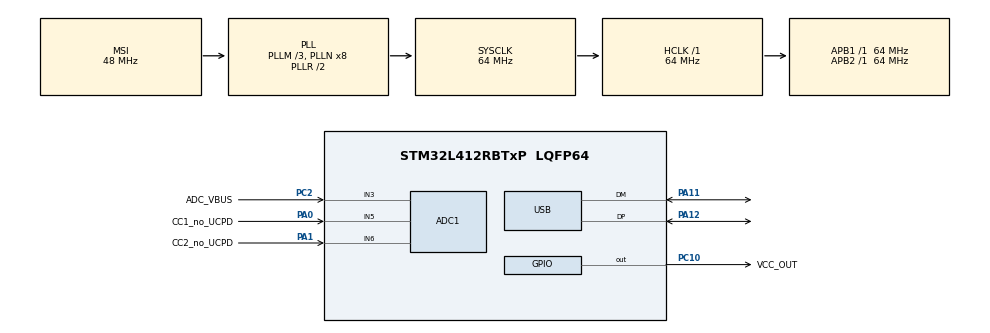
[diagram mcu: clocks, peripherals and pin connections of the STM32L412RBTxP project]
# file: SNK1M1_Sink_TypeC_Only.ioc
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ADC1.Channel-0\#ChannelRegularConversion=ADC_CHANNEL_3
ADC1.Channel-3\#ChannelRegularConversion=ADC_CHANNEL_5
ADC1.Channel-4\#ChannelRegularConversion=ADC_CHANNEL_6
ADC1.ClockPrescaler=ADC_CLOCK_SYNC_PCLK_DIV4
ADC1.ContinuousConvMode=ENABLE
ADC1.DMAContinuousRequests=ENABLE
ADC1.EnableAnalogWatchDog1=false
ADC1.NbrOfConversion=3
ADC1.NbrOfConversionFlag=1
ADC1.OffsetNumber-0\#ChannelRegularConversion=ADC_OFFSET_NONE
ADC1.OffsetNumber-3\#ChannelRegularConversion=ADC_OFFSET_NONE
ADC1.OffsetNumber-4\#ChannelRegularConversion=ADC_OFFSET_NONE
ADC1.Overrun=ADC_OVR_DATA_OVERWRITTEN
ADC1.Rank-0\#ChannelRegularConversion=1
ADC1.Rank-3\#ChannelRegularConversion=2
ADC1.Rank-4\#ChannelRegularConversion=3
ADC1.SamplingTime-0\#ChannelRegularConversion=ADC_SAMPLETIME_640CYCLES_5
ADC1.SamplingTime-3\#ChannelRegularConversion=ADC_SAMPLETIME_640CYCLES_5
ADC1.SamplingTime-4\#ChannelRegularConversion=ADC_SAMPLETIME_640CYCLES_5
ADC1.master=1
Dma.ADC1.0.Direction=DMA_PERIPH_TO_MEMORY
Dma.ADC1.0.Instance=DMA1_Channel1
Dma.ADC1.0.MemDataAlignment=DMA_MDATAALIGN_HALFWORD
Dma.ADC1.0.MemInc=DMA_MINC_ENABLE
Dma.ADC1.0.Mode=DMA_CIRCULAR
Dma.ADC1.0.PeriphDataAlignment=DMA_PDATAALIGN_HALFWORD
Dma.ADC1.0.PeriphInc=DMA_PINC_DISABLE
Dma.ADC1.0.Priority=DMA_PRIORITY_LOW
Dma.Request0=ADC1
FREERTOS.Tasks01=defaultTask,0,128,StartDefaultTask,Default,NULL,Dynamic,NULL,NULL
Mcu.Family=STM32L4
Mcu.Name=STM32L412RBTxP
Mcu.Package=LQFP64
NVIC.DMA1_Channel1_IRQn=true\:0\:0\:false\:false\:true\:false\:false\:true
NVIC.PriorityGroup=NVIC_PRIORITYGROUP_4
NVIC.USB_IRQn=true\:0\:0\:false\:false\:true\:false\:false\:true
PA0.GPIO_Label=CC1_no_UCPD
PA0.Signal=ADCx_IN5
PA1.GPIO_Label=CC2_no_UCPD
PA1.Signal=ADCx_IN6
PA11.Mode=Device
PA11.Signal=USB_DM
PA12.Mode=Device
PA12.Signal=USB_DP
PC10.GPIO_Label=VCC_OUT
PC10.PinState=GPIO_PIN_SET
PC10.Signal=GPIO_Output
PC2.GPIO_Label=ADC_VBUS
PC2.Signal=ADCx_IN3
ProjectManager.HeapSize=0x200
ProjectManager.StackSize=0x400
ProjectManager.TargetToolchain=EWARM V8.32
RCC.ADCFreq_Value=64000000
RCC.AHBFreq_Value=64000000
RCC.APB1Freq_Value=64000000
RCC.APB1TimFreq_Value=64000000
RCC.APB2Freq_Value=64000000
RCC.APB2TimFreq_Value=64000000
RCC.CortexFreq_Value=64000000
RCC.HCLKFreq_Value=64000000
RCC.HSE_VALUE=8000000
RCC.HSI48_VALUE=48000000
RCC.HSI_VALUE=16000000
RCC.LSE_VALUE=32768
RCC.MSIClockRange=RCC_MSIRANGE_11
RCC.MSI_VALUE=48000000
RCC.PLLM=3
RCC.SYSCLKFreq_VALUE=64000000
RCC.SYSCLKSource=RCC_SYSCLKSOURCE_PLLCLK
RCC.USBFreq_Value=48000000
RCC.VCOOutputFreq_Value=128000000
SH.ADCx_IN3.0=ADC1_IN3,IN3-Single-Ended
SH.ADCx_IN5.0=ADC1_IN5,IN5-Single-Ended
SH.ADCx_IN6.0=ADC1_IN6,IN6-Single-Ended
USB_DEVICE.CLASS_NAME_FS=MSC
USB_DEVICE.VirtualMode=Msc
USB_DEVICE.VirtualModeFS=Msc_FS
VP_FREERTOS_VS_CMSIS_V1.Mode=CMSIS_V1
VP_USB_DEVICE_VS_USB_DEVICE_MSC_FS.Mode=MSC_FS
board=custom

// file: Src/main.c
/* USER CODE BEGIN Header */
/**
  ******************************************************************************
  * @file           : main.c
  * @brief          : Main program body
  ******************************************************************************
  * @attention
  *
  * Copyright (c) 2020 STMicroelectronics.
  * All rights reserved.
  *
  * This software is licensed under terms that can be found in the LICENSE file
  * in the root directory of this software component.
  * If no LICENSE file comes with this software, it is provided AS-IS.
  *
  ******************************************************************************
  */
/* USER CODE END Header */
#include "main.h"
#include "cmsis_os.h"
#include "usb_device.h"

/* USER CODE BEGIN Includes */
#include "stm32l4xx_nucleo.h"
#include "usbpd_usb_if.h"
/* USER CODE END Includes */

/* USER CODE BEGIN PD */

typedef enum {
  CC_STATUS_NONE,
  CC_STATUS_DEFAULT,
  CC_STATUS_1P5A,
  CC_STATUS_3P0A,
} CC_STATUS_ENUM;

#define ADC_CONVERTED_DATA_BUFFER_SIZE  (3U)

#define VDD_APPLI                       (3300U)
#define ADC_MAX_VALUE_12B               (4095U)

#define ADC_INDEX_VBUS                  (0U)
#define ADC_INDEX_CC1                   (1U)
#define ADC_INDEX_CC2                   (2U)

/* X-NUCLEO-USBPDM board is used */
    /* Value is multiplied by 5.97 (Divider R6/R7 (40.2K/200K) for VSENSE) */
#define VBUS_LOW_THRESHOLD            (800U) /* 800mV */
#define ADC_VOLTAGE_DIVIDER_RATIO     (597U)
#define ADC_VBUS_VALUE_LOW_THRESHOLD  ((((VBUS_LOW_THRESHOLD * 100U) / ADC_VOLTAGE_DIVIDER_RATIO) *  ADC_MAX_VALUE_12B) / VDD_APPLI)

/* VRd-USB: ~0.2V < VCCx < ~0.66V  */
/* VRd-1.5: ~0.66V < VCCx < ~1.23V */
/* VRd-3.0: ~1.23V < VCCx          */
#define VRD_USB_MIN                     200U    /* ~0.2V*/
#define VRD_USB_MAX                     660U    /* 0.66V*/
#define VRD_1P5A_MAX                    1230U    /* 1.23V*/

#define ADC_VALUE_VRD_USB_MIN  ((VRD_USB_MIN *  ADC_MAX_VALUE_12B) / VDD_APPLI)
#define ADC_VALUE_VRD_USB_MAX  ((VRD_USB_MAX *  ADC_MAX_VALUE_12B) / VDD_APPLI)
#define ADC_VALUE_VRD_VRD_1P5A_MAX ((VRD_1P5A_MAX *  ADC_MAX_VALUE_12B) / VDD_APPLI)

/* Define the number of samples to be read */
#define NB_TOTAL_SAMPLES        3U /* 1 sample ready every 1ms (done in systick handler)*/

/* Time to wait for starting a new set of blinks */
#define TIME_BETWEEN_2_SET_OF_BLINKS    2000U   /* 2s */

/* Time of blinking*/
#define TIME_BLINK                      500U   /* 500ms */

/* Number of blinks depending of the RP resistor value */
#define NB_BLINK_DEFAULT                2U   /* 1 blink (need 2 LED toggles */
#define NB_BLINK_1P5A                   4U   /* 2 blink (need 4 LED toggles */
#define NB_BLINK_3P0A                   6U   /* 3 blink (need 6 LED toggles */

/* USER CODE END PD */

ADC_HandleTypeDef hadc1;
DMA_HandleTypeDef hdma_adc1;

osThreadId defaultTaskHandle;
/* USER CODE BEGIN PV */
uint16_t aADCxConvertedData[ADC_CONVERTED_DATA_BUFFER_SIZE]; /*!< ADC group regular conversion data */

/* Variable to save the previous CC status detected */
CC_STATUS_ENUM  PreviousCCStatus = CC_STATUS_NONE;

/* To avoid error in CC status reading (due to PD messages sent by port partner),
   we will take several samples before confirmation of the CC status */
uint8_t NbCCStatus_Read = 0;

/* CC status correctly detected */
uint8_t CCDetected = 0;

/* Queue used for LED tasks */
osMessageQId LEDQueue;

/**/
/*
  Variable to save the total number of blinks used when a NO PD capable is detected:
  - 1 blink: NO PD with RP set to default (500mA)
  - 2 blinks: NO PD with RP set to 1.5A
  - 3 blinks: NO PD with RP set to 3.5A
*/
uint8_t TotalBlinking = 0;
/* Variable to save the ongoing blinks */
uint8_t NbBlinking = 0;
/* USER CODE END PV */

void SystemClock_Config(void);
static void MX_GPIO_Init(void);
static void MX_DMA_Init(void);
static void MX_ADC1_Init(void);
void StartDefaultTask(void const * argument);

/* USER CODE BEGIN PFP */
void LED_Task(void const * argument);
/* USER CODE END PFP */

int main(void)
{

  /* MCU Configuration--------------------------------------------------------*/

  /* Reset of all peripherals, Initializes the Flash interface and the Systick. */
  HAL_Init();

  /* Configure the system clock */
  SystemClock_Config();

  /* USER CODE BEGIN SysInit */
  BSP_LED_Init(LED4);
  /* USER CODE END SysInit */

  /* Initialize all configured peripherals */
  MX_GPIO_Init();
  MX_DMA_Init();
  MX_ADC1_Init();

  /* USER CODE BEGIN RTOS_QUEUES */
  osMessageQDef(queueLED, 1, uint16_t);
  LEDQueue = osMessageCreate(osMessageQ(queueLED), NULL);
  osThreadDef(LED, LED_Task, osPriorityNormal, 0, 128);
  osThreadCreate(osThread(LED), NULL);
  /* USER CODE END RTOS_QUEUES */

  /* Create the thread(s) */
  /* definition and creation of defaultTask */
  osThreadDef(defaultTask, StartDefaultTask, osPriorityNormal, 0, 128);
  defaultTaskHandle = osThreadCreate(osThread(defaultTask), NULL);

  /* Start scheduler */
  osKernelStart();

  /* We should never get here as control is now taken by the scheduler */
  /* Infinite loop */
  while (1)
  {

  }
}

void SystemClock_Config(void)
{
  RCC_OscInitTypeDef RCC_OscInitStruct = {0};
  RCC_ClkInitTypeDef RCC_ClkInitStruct = {0};
  RCC_PeriphCLKInitTypeDef PeriphClkInit = {0};

  /** Configure the main internal regulator output voltage
  */
  if (HAL_PWREx_ControlVoltageScaling(PWR_REGULATOR_VOLTAGE_SCALE1) != HAL_OK)
  {
    Error_Handler();
  }
  /** Initializes the RCC Oscillators according to the specified parameters
  * in the RCC_OscInitTypeDef structure.
  */
  RCC_OscInitStruct.OscillatorType = RCC_OSCILLATORTYPE_MSI;
  RCC_OscInitStruct.MSIState = RCC_MSI_ON;
  RCC_OscInitStruct.MSICalibrationValue = 0;
  RCC_OscInitStruct.MSIClockRange = RCC_MSIRANGE_11;
  RCC_OscInitStruct.PLL.PLLState = RCC_PLL_ON;
  RCC_OscInitStruct.PLL.PLLSource = RCC_PLLSOURCE_MSI;
  RCC_OscInitStruct.PLL.PLLM = 3;
  RCC_OscInitStruct.PLL.PLLN = 8;
  RCC_OscInitStruct.PLL.PLLQ = RCC_PLLQ_DIV2;
  RCC_OscInitStruct.PLL.PLLR = RCC_PLLR_DIV2;
  if (HAL_RCC_OscConfig(&RCC_OscInitStruct) != HAL_OK)
  {
    Error_Handler();
  }
  /** Initializes the CPU, AHB and APB buses clocks
  */
  RCC_ClkInitStruct.ClockType = RCC_CLOCKTYPE_HCLK|RCC_CLOCKTYPE_SYSCLK
                              |RCC_CLOCKTYPE_PCLK1|RCC_CLOCKTYPE_PCLK2;
  RCC_ClkInitStruct.SYSCLKSource = RCC_SYSCLKSOURCE_PLLCLK;
  RCC_ClkInitStruct.AHBCLKDivider = RCC_SYSCLK_DIV1;
  RCC_ClkInitStruct.APB1CLKDivider = RCC_HCLK_DIV1;
  RCC_ClkInitStruct.APB2CLKDivider = RCC_HCLK_DIV1;

  if (HAL_RCC_ClockConfig(&RCC_ClkInitStruct, FLASH_LATENCY_3) != HAL_OK)
  {
    Error_Handler();
  }
  PeriphClkInit.PeriphClockSelection = RCC_PERIPHCLK_USB|RCC_PERIPHCLK_ADC;
  PeriphClkInit.UsbClockSelection = RCC_USBCLKSOURCE_MSI;
  if (HAL_RCCEx_PeriphCLKConfig(&PeriphClkInit) != HAL_OK)
  {
    Error_Handler();
  }
}

static void MX_ADC1_Init(void)
{

  ADC_MultiModeTypeDef multimode = {0};
  ADC_ChannelConfTypeDef sConfig = {0};

  /** Common config
  */
  hadc1.Instance = ADC1;
  hadc1.Init.ClockPrescaler = ADC_CLOCK_SYNC_PCLK_DIV4;
  hadc1.Init.Resolution = ADC_RESOLUTION_12B;
  hadc1.Init.DataAlign = ADC_DATAALIGN_RIGHT;
  hadc1.Init.ScanConvMode = ADC_SCAN_ENABLE;
  hadc1.Init.EOCSelection = ADC_EOC_SINGLE_CONV;
  hadc1.Init.LowPowerAutoWait = DISABLE;
  hadc1.Init.ContinuousConvMode = ENABLE;
  hadc1.Init.NbrOfConversion = 3;
  hadc1.Init.DiscontinuousConvMode = DISABLE;
  hadc1.Init.ExternalTrigConv = ADC_SOFTWARE_START;
  hadc1.Init.ExternalTrigConvEdge = ADC_EXTERNALTRIGCONVEDGE_NONE;
  hadc1.Init.DMAContinuousRequests = ENABLE;
  hadc1.Init.Overrun = ADC_OVR_DATA_OVERWRITTEN;
  hadc1.Init.OversamplingMode = DISABLE;
  if (HAL_ADC_Init(&hadc1) != HAL_OK)
  {
    Error_Handler();
  }
  /** Configure the ADC multi-mode
  */
  multimode.Mode = ADC_MODE_INDEPENDENT;
  if (HAL_ADCEx_MultiModeConfigChannel(&hadc1, &multimode) != HAL_OK)
  {
    Error_Handler();
  }
  /** Configure Regular Channel
  */
  sConfig.Channel = ADC_CHANNEL_3;
  sConfig.Rank = ADC_REGULAR_RANK_1;
  sConfig.SamplingTime = ADC_SAMPLETIME_640CYCLES_5;
  sConfig.SingleDiff = ADC_SINGLE_ENDED;
  sConfig.OffsetNumber = ADC_OFFSET_NONE;
  sConfig.Offset = 0;
  if (HAL_ADC_ConfigChannel(&hadc1, &sConfig) != HAL_OK)
  {
    Error_Handler();
  }
  /** Configure Regular Channel
  */
  sConfig.Channel = ADC_CHANNEL_5;
  sConfig.Rank = ADC_REGULAR_RANK_2;
  if (HAL_ADC_ConfigChannel(&hadc1, &sConfig) != HAL_OK)
  {
    Error_Handler();
  }
  /** Configure Regular Channel
  */
  sConfig.Channel = ADC_CHANNEL_6;
  sConfig.Rank = ADC_REGULAR_RANK_3;
  if (HAL_ADC_ConfigChannel(&hadc1, &sConfig) != HAL_OK)
  {
    Error_Handler();
  }
  /* USER CODE BEGIN ADC1_Init 2 */

  /* WD  not used for VBUS
  AnalogWDGConfig.HighThreshold = ((840 * 4095) / 3300);
  AnalogWDGConfig.LowThreshold =  ((133 * 4095) / 3300);
  */
  HAL_ADCEx_Calibration_Start(&hadc1, sConfig.SingleDiff);
  HAL_ADC_Start_DMA(&hadc1, (uint32_t*)aADCxConvertedData, hadc1.Init.NbrOfConversion);
  /* USER CODE END ADC1_Init 2 */

}

static void MX_DMA_Init(void)
{

  /* DMA controller clock enable */
  __HAL_RCC_DMA1_CLK_ENABLE();

  /* DMA interrupt init */
  /* DMA1_Channel1_IRQn interrupt configuration */
  HAL_NVIC_SetPriority(DMA1_Channel1_IRQn, 0, 0);
  HAL_NVIC_EnableIRQ(DMA1_Channel1_IRQn);

}

static void MX_GPIO_Init(void)
{
  GPIO_InitTypeDef GPIO_InitStruct = {0};

  /* GPIO Ports Clock Enable */
  __HAL_RCC_GPIOC_CLK_ENABLE();
  __HAL_RCC_GPIOA_CLK_ENABLE();

  /*Configure GPIO pin Output Level */
  HAL_GPIO_WritePin(VCC_OUT_GPIO_Port, VCC_OUT_Pin, GPIO_PIN_SET);

  /*Configure GPIO pin : VCC_OUT_Pin */
  GPIO_InitStruct.Pin = VCC_OUT_Pin;
  GPIO_InitStruct.Mode = GPIO_MODE_OUTPUT_PP;
  GPIO_InitStruct.Pull = GPIO_NOPULL;
  GPIO_InitStruct.Speed = GPIO_SPEED_FREQ_LOW;
  HAL_GPIO_Init(VCC_OUT_GPIO_Port, &GPIO_InitStruct);

}

/* USER CODE BEGIN 4 */

void Check_TypeC_Connection(void)
{
    /* Check if VBUS is present */
    if (aADCxConvertedData[ADC_INDEX_VBUS] > ADC_VBUS_VALUE_LOW_THRESHOLD)
    {
      USBPD_USBIF_DeviceStart(0);
      CC_STATUS_ENUM cc_status;
      /* Check value of the Rp Resistor on CC1 line */
      if (aADCxConvertedData[ADC_INDEX_CC1] > ADC_VALUE_VRD_USB_MIN)
      {
        /* CC1 line is connected*/
        if (aADCxConvertedData[ADC_INDEX_CC1] < ADC_VALUE_VRD_USB_MAX)
        {
          /* VRd-USB default is presented */
          cc_status = CC_STATUS_DEFAULT;
        }
        else if (aADCxConvertedData[ADC_INDEX_CC1] < ADC_VALUE_VRD_VRD_1P5A_MAX)
        {
          /* VRd-1.5A is presented */
          cc_status = CC_STATUS_1P5A;
        }
        else
        {
          /* VRd-3.0A is presented */
          cc_status = CC_STATUS_3P0A;
        }
      }
      else
      {
        /* CC2 line is connected*/
        if (aADCxConvertedData[ADC_INDEX_CC2] < ADC_VALUE_VRD_USB_MAX)
        {
          /* VRd-USB default is presented */
          cc_status = CC_STATUS_DEFAULT;
        }
        else if (aADCxConvertedData[ADC_INDEX_CC2] < ADC_VALUE_VRD_VRD_1P5A_MAX)
        {
          /* VRd-1.5A is presented */
          cc_status = CC_STATUS_1P5A;
        }
        else
        {
          /* VRd-3.0A is presented */
          cc_status = CC_STATUS_3P0A;
        }
      }

      /* Check the validity of the CC status
         Accept only after NB_TOTAL_SAMPLES samples */
      if (NbCCStatus_Read < NB_TOTAL_SAMPLES)
      {
        /* If previous is the same as the current one */
        if ((PreviousCCStatus == CC_STATUS_NONE) || (cc_status == PreviousCCStatus))
        {
          PreviousCCStatus = cc_status;
          NbCCStatus_Read++;
        }
        else
        {
          /* Read NB_TOTAL_SAMPLES more samples */
          NbCCStatus_Read = 0;
          PreviousCCStatus = CC_STATUS_NONE;
        }
      }
      else
      {
        /* Sample is valid, we can send a msg to LED task to blink accordingly */
        if (CCDetected == 0)
        {
          switch (cc_status)
          {
          case CC_STATUS_DEFAULT:
            (void)osMessagePut(LEDQueue, DPM_USER_EVENT_NOPD_DEFAULT, 0);
            break;
          case CC_STATUS_1P5A:
            (void)osMessagePut(LEDQueue, DPM_USER_EVENT_NOPD_1P5A, 0);
            break;
          case CC_STATUS_3P0A:
            (void)osMessagePut(LEDQueue, DPM_USER_EVENT_NOPD_3P0A, 0);
            break;
          case CC_STATUS_NONE:
          default:
            break;
          }
          CCDetected = 1;
        }
      }
    }
    else
    {
      PreviousCCStatus = CC_STATUS_NONE;
      CCDetected = 0;
      (void)osMessagePut(LEDQueue, DPM_USER_EVENT_DETACH, 0);
      USBPD_USBIF_DeviceStop(0);
    }
}

void LED_Task(void const * argument)
{
  uint32_t _timing = osWaitForever;
  /* Infinite loop */
  for(;;)
  {
    osEvent event = osMessageGet(LEDQueue, _timing);

    /* Check the CC attach detected on Type-C */
    switch ((DPM_USER_EVENT)event.value.v)
    {
    /* PD power supply is detected, only switch on the LED */
    case DPM_USER_EVENT_EXPLICIT_CONTRACT:
      BSP_LED_On(LED4);
      _timing = osWaitForever;
      break;
    /*NO PD power supply detected, blink linked to presented RP resistor */
    case DPM_USER_EVENT_NOPD_DEFAULT:
      TotalBlinking = NB_BLINK_DEFAULT;
      _timing = 0;
      break;
    case DPM_USER_EVENT_NOPD_1P5A:
      TotalBlinking = NB_BLINK_1P5A;
      _timing = 0;
      break;
    case DPM_USER_EVENT_NOPD_3P0A:
      TotalBlinking = NB_BLINK_3P0A;
      _timing = 0;
      break;
    case DPM_USER_EVENT_TIMER:
      if (NbBlinking < TotalBlinking)
      {
        BSP_LED_Toggle(LED4);
        _timing = TIME_BLINK;
        NbBlinking++;
      }
      else
      {
        /* Wait for time before next set of blinks */
        _timing = TIME_BETWEEN_2_SET_OF_BLINKS;
        NbBlinking = 0;
      }
      break;
    case DPM_USER_EVENT_DETACH:
    default:
      BSP_LED_Off(LED4);
      _timing = osWaitForever;
      break;
    }
  }
}
/* USER CODE END 4 */

void StartDefaultTask(void const * argument)
{
  /* init code for USB_DEVICE */
  MX_USB_DEVICE_Init();
  for(;;)
  {
    osDelay(1);
  }
}

void Error_Handler(void)
{
}

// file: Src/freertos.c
/* USER CODE BEGIN Header */
/**
  ******************************************************************************
  * File Name          : freertos.c
  * Description        : Code for freertos applications
  ******************************************************************************
  * @attention
  *
  * Copyright (c) 2020 STMicroelectronics.
  * All rights reserved.
  *
  * This software is licensed under terms that can be found in the LICENSE file
  * in the root directory of this software component.
  * If no LICENSE file comes with this software, it is provided AS-IS.
  *
  ******************************************************************************
  */
/* USER CODE END Header */

#include "FreeRTOS.h"
#include "task.h"
#include "main.h"

/* GetIdleTaskMemory prototype (linked to static allocation support) */
void vApplicationGetIdleTaskMemory( StaticTask_t **ppxIdleTaskTCBBuffer, StackType_t **ppxIdleTaskStackBuffer, uint32_t *pulIdleTaskStackSize );

/* USER CODE BEGIN GET_IDLE_TASK_MEMORY */
static StaticTask_t xIdleTaskTCBBuffer;
static StackType_t xIdleStack[configMINIMAL_STACK_SIZE];

void vApplicationGetIdleTaskMemory( StaticTask_t **ppxIdleTaskTCBBuffer, StackType_t **ppxIdleTaskStackBuffer, uint32_t *pulIdleTaskStackSize )
{
  *ppxIdleTaskTCBBuffer = &xIdleTaskTCBBuffer;
  *ppxIdleTaskStackBuffer = &xIdleStack[0];
  *pulIdleTaskStackSize = configMINIMAL_STACK_SIZE;
  /* place for user code */
}
/* USER CODE END GET_IDLE_TASK_MEMORY */
